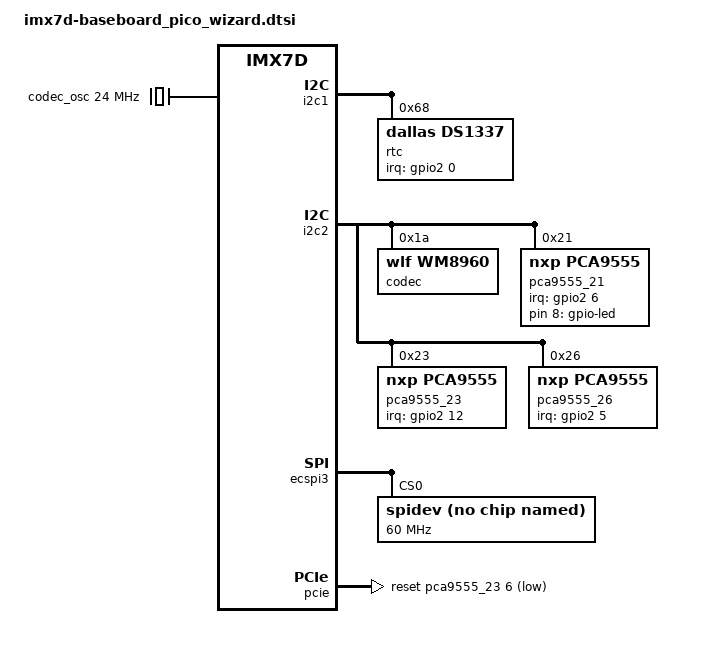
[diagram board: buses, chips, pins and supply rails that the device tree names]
/*
 * Copyright 2018 Technexion Ltd.
 *
 * Author: Tapani Utriainen <tapani@technexion.com>
 *         Richard Hu <richard.hu@technexion.com>
 *
 * This program is free software; you can redistribute it and/or modify
 * it under the terms of the GNU General Public License version 2 as
 * published by the Free Software Foundation.
 *
 */

#include "tnmacro.h"

//PICO_NYMPH_GPIO_DEFS();
/ {
	gpio-leds {
		compatible = "gpio-leds";

		led {
			label = "gpio-led";
			linux,default-trigger = "heartbeat";
			gpios = <&pca9555_21 8 GPIO_ACTIVE_HIGH>;
		};
	};

    sound_wm8960: sound-wm8960 {
        compatible = "fsl,imx-audio-wm8960";
        model = "wm8960-audio";
        cpu-dai = <&sai1>;
        codec-master;
        audio-codec = <&codec>;
        mux-int-port = <1>;
        mux-ext-port = <3>;
        audio-routing =
            "Headphone Jack", "HP_L",
            "Headphone Jack", "HP_R",
            "Ext Spk", "SPK_LP",
            "Ext Spk", "SPK_LN",
            "Ext Spk", "SPK_RP",
            "Ext Spk", "SPK_RN",
            "LINPUT1", "Main MIC",
            "RINPUT1", "Main MIC",
            "Main MIC", "MICB";
        /* JD2: hp detect high for headphone*/
        hp-det = <2 0>;
    };

    clocks {
        codec_osc: aud_mclk {
            compatible = "fixed-clock";
            #clock-cells = <0>;
            clock-frequency = <24000000>;
            clock-output-names = "wm8960-mclk";
        };
    };
};

&iomuxc {
    imx7d-pico {
		pinctrl_rtc_ds1337_irq: rtc_ds1337_irqgrp {
			fsl,pins = <
				MX7D_PAD_EPDC_DATA00__GPIO2_IO0		0x80000000 /* GPIO_P24, irq */
			>;
		};
		pinctrl_pca9555_21: pca9555_21grp {
			fsl,pins = <
				MX7D_PAD_EPDC_DATA06__GPIO2_IO6		0x80000000 /* GPIO_P25, irq */
			>;
		};

		pinctrl_pca9555_23: pca9555_23grp {
			fsl,pins = <
				MX7D_PAD_EPDC_DATA12__GPIO2_IO12	0x80000000 /* GPIO_P42, irq */
			>;
		};

		pinctrl_pca9555_26: pca9555_26grp {
			fsl,pins = <
				MX7D_PAD_EPDC_DATA05__GPIO2_IO5		0x80000000 /* GPIO_P34, irq */
			>;
		};
	};
};

&iomuxc_lpsr {
	imx7d-pi {
        pinctrl_mipi_csi: mipicsigrp-1 {
            fsl,pins = <
                MX7D_PAD_LPSR_GPIO1_IO05__GPIO1_IO5     0x15 /* mipi csi reset */
                MX7D_PAD_LPSR_GPIO1_IO02__CCM_CLKO1     0x7d /* mipi csi main clock */
            >;
        };
	};
};

&i2c1 {
	status = "okay";

    rtc: ds1337 {
        compatible = "dallas,ds1337";
        pinctrl-names = "default";
		pinctrl-0 = <&pinctrl_rtc_ds1337_irq>;
        reg = <0x68>;
        wakeup-source;
        interrupt-parent = <&gpio2>;
        interrupts = <0 0>;
    };
};

&i2c2 {
	status = "okay";

    codec: wm8960@1a {
        compatible = "wlf,wm8960";
        reg = <0x1a>;
        #sound-dai-cells = <0>;
        clocks = <&codec_osc>; 
        clock-names = "mclk";
        wlf,shared-lrclk;
        wlf,fixed-mclk;
    };

    pca9555_21: pca9555_21@21 {
        compatible = "nxp,pca9555";
        pinctrl-names = "default";
        pinctrl-0 = <&pinctrl_pca9555_21>;
        interrupt-parent = <&gpio2>;
        interrupts = <6 IRQ_TYPE_EDGE_FALLING>;
        reg =<0x21>;
        gpio-controller;
        #gpio-cells = <2>;
        interrupt-controller;
        #interrupt-cells = <2>;
    };

    pca9555_23: pca9555_23@23 {
        compatible = "nxp,pca9555";
        pinctrl-names = "default";
        pinctrl-0 = <&pinctrl_pca9555_23>;
        interrupt-parent = <&gpio2>;
        interrupts = <12 IRQ_TYPE_EDGE_FALLING>;
        reg =<0x23>;
        gpio-controller;
        #gpio-cells = <2>;
        interrupt-controller;
        #interrupt-cells = <2>;
    };

    pca9555_26: pca9555_26@26 {
        compatible = "nxp,pca9555";
        pinctrl-names = "default";
        pinctrl-0 = <&pinctrl_pca9555_26>;
        interrupt-parent = <&gpio2>;
        interrupts = <5 IRQ_TYPE_EDGE_FALLING>;
        reg =<0x26>;
        gpio-controller;
        #gpio-cells = <2>;
        interrupt-controller;
        #interrupt-cells = <2>;
    };
};

&ecspi3 {
	status = "okay";

	spidev@1 {
		compatible = "rohm,dh2228fv";
		spi-max-frequency = <60000000>;
		reg = <0>;
	};
};

&pcie {
    clkreq-gpio = <&pca9555_23 7 GPIO_ACTIVE_LOW>;
    disable-gpio = <&pca9555_23 4 GPIO_ACTIVE_LOW>;
    reset-gpio = <&pca9555_23 6 GPIO_ACTIVE_LOW>;
	/* For iMX7D pcie phy ref clock select; ext_osc == 1 ? internal pll : external osc */
    //ext_osc = <1>;
    status = "okay";
};

